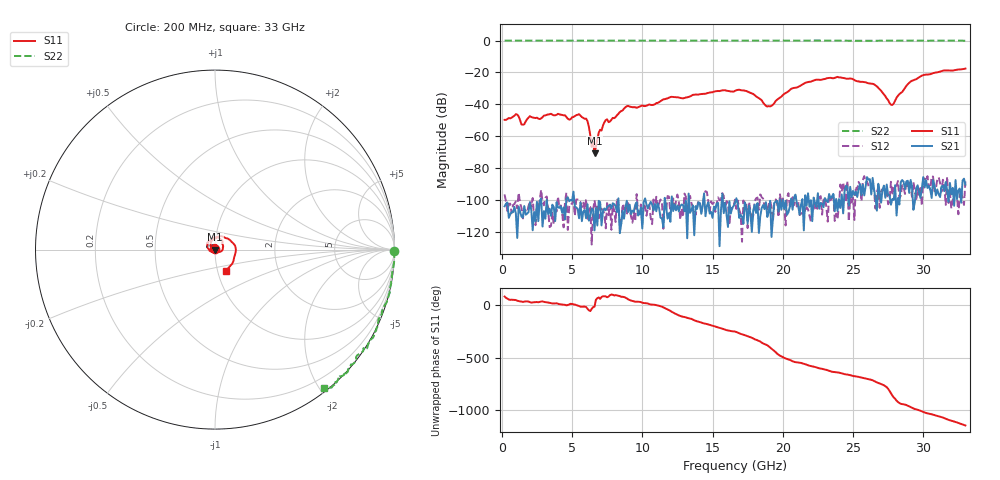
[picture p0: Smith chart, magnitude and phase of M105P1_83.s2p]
# GHZ S RI R 50
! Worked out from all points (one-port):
!   329 points, 200 MHz to 33 GHz, reference 50 ohm
!   lowest |S11| = -70.7 dB at 6.6 GHz (marker M1), VSWR 1.00, Z = 50 - j0.00708 ohm
!   |S11| at or under -10 dB: start of sweep to end of sweep
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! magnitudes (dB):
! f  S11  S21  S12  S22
! 200 MHz  -49.7  -103.9  -96.5  0.0
! 1 GHz  -46.1  -108.5  -100.9  0.0
! 1.5 GHz  -52.8  -111.0  -111.6  0.0
! 2 GHz  -47.4  -101.5  -100.5  0.0
! 5.7 GHz  -48.0  -113.3  -104.5  0.0
! 6.1 GHz  -50.5  -102.6  -111.8  0.0
! 6.4 GHz  -66.7  -105.3  -127.9  0.0
! 6.5 GHz  -63.4  -106.0  -106.2  0.0
! 6.6 GHz  -70.7  -119.1  -100.1  0.0
! 6.9 GHz  -57.8  -100.5  -111.5  0.0
! 7.4 GHz  -49.8  -106.4  -117.8  0.0
! 8.9 GHz  -41.2  -100.4  -109.1  0.0
! 11.2 GHz  -38.6  -105.3  -102.0  0.0
! 16.6 GHz  -31.5  -101.9  -99.7  -0.1
! 17.9 GHz  -33.5  -106.6  -109.5  0.0
! 19.1 GHz  -41.3  -100.5  -100.7  0.0
! 22.1 GHz  -25.4  -113.2  -106.2  0.0
! 23.9 GHz  -22.8  -106.9  -112.1  0.0
! 26.4 GHz  -27.1  -86.1  -92.2  -0.1
! 27.6 GHz  -39.1  -97.1  -100.6  -0.1
! 29.9 GHz  -22.0  -93.0  -103.5  -0.1
! 33 GHz  -17.6  -90.4  -88.4  -0.2
